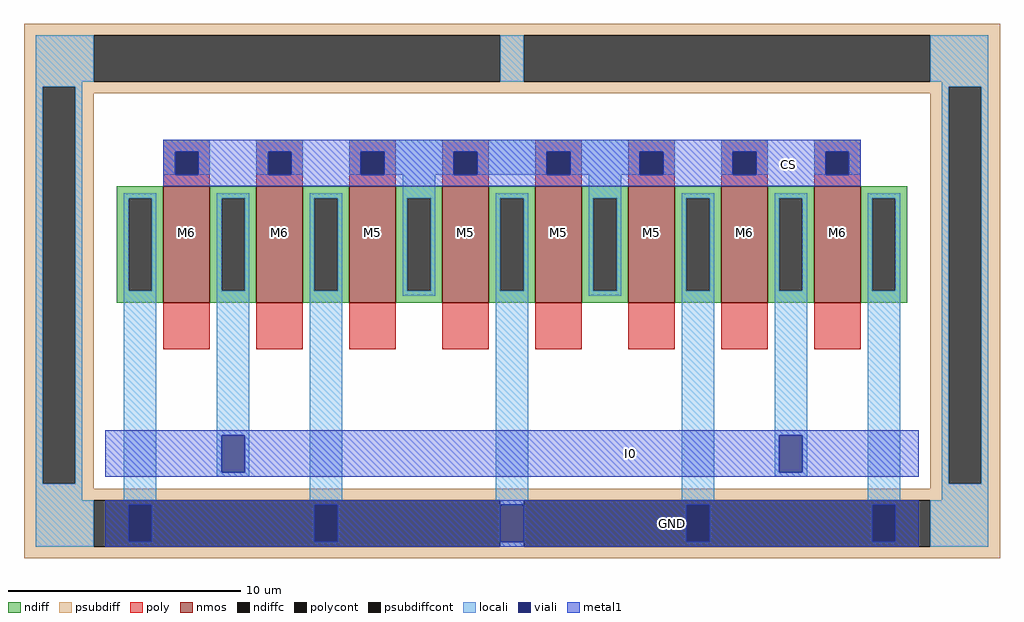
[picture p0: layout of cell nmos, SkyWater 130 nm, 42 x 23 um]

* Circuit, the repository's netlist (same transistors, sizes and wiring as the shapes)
* NGSPICE file created from nmos.ext - technology: sky130A

.subckt nmos
X0 M5 M5 GND GND sky130_fd_pr__nfet_01v8 ad=5 pd=7 as=5 ps=7 w=5 l=2
X1 GND M5 I0 GND sky130_fd_pr__nfet_01v8 ad=10 pd=14 as=5 ps=7 w=5 l=2
X2 M5 M5 GND GND sky130_fd_pr__nfet_01v8 ad=5 pd=7 as=5 ps=7 w=5 l=2
X3 GND M5 M5 GND sky130_fd_pr__nfet_01v8 ad=5 pd=7 as=5 ps=7 w=5 l=2
X4 I0 M5 GND GND sky130_fd_pr__nfet_01v8 ad=5 pd=7 as=10.00515 ps=14.02 w=5 l=2
X5 GND M5 M5 GND sky130_fd_pr__nfet_01v8 ad=5 pd=7 as=5 ps=7 w=5 l=2
X6 I0 M5 GND GND sky130_fd_pr__nfet_01v8 ad=5 pd=7 as=5 ps=7 w=5 l=2
X7 GND M5 I0 GND sky130_fd_pr__nfet_01v8 ad=5 pd=7 as=5 ps=7 w=5 l=2
.ends

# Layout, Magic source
magic
tech sky130A
magscale 1 2
<< nmos >>
rect 1600 0 2000 1000
rect 2400 0 2800 1000
rect 3200 0 3600 1000
rect 4000 0 4400 1000
rect 4800 0 5200 1000
rect 5600 0 6000 1000
rect 6400 0 6800 1000
rect 7200 0 7600 1000
<< ndiff >>
rect 1209 1000 1312 1002
rect 1200 900 1600 1000
rect 1200 100 1300 900
rect 1500 100 1600 900
rect 1200 0 1600 100
rect 2000 900 2400 1000
rect 2000 100 2100 900
rect 2300 100 2400 900
rect 2000 0 2400 100
rect 2800 900 3200 1000
rect 2800 100 2900 900
rect 3100 100 3200 900
rect 2800 0 3200 100
rect 3600 900 4000 1000
rect 3600 100 3700 900
rect 3900 100 4000 900
rect 3600 0 4000 100
rect 4400 900 4800 1000
rect 4400 100 4500 900
rect 4700 100 4800 900
rect 4400 0 4800 100
rect 5200 900 5600 1000
rect 5200 100 5300 900
rect 5500 100 5600 900
rect 5200 0 5600 100
rect 6000 900 6400 1000
rect 6000 100 6100 900
rect 6300 100 6400 900
rect 6000 0 6400 100
rect 6800 900 7200 1000
rect 6800 100 6900 900
rect 7100 100 7200 900
rect 6800 0 7200 100
rect 7600 900 8000 1000
rect 7600 100 7700 900
rect 7900 100 8000 900
rect 7600 0 8000 100
<< ndiffc >>
rect 1300 100 1500 900
rect 2100 100 2300 900
rect 2900 100 3100 900
rect 3700 100 3900 900
rect 4500 100 4700 900
rect 5300 100 5500 900
rect 6100 100 6300 900
rect 6900 100 7100 900
rect 7700 100 7900 900
<< psubdiff >>
rect 400 2300 8800 2400
rect 400 1900 1000 2300
rect 4500 1900 4700 2300
rect 8200 1900 8800 2300
rect 400 1860 8800 1900
rect 400 -1560 560 1860
rect 840 1800 8360 1860
rect 840 -1560 1000 1800
rect 400 -1600 1000 -1560
rect 8200 -1560 8360 1800
rect 8640 -1560 8800 1860
rect 8200 -1600 8800 -1560
rect 400 -1700 8800 -1600
rect 400 -2100 1000 -1700
rect 4500 -2100 4700 -1700
rect 8200 -2100 8800 -1700
rect 400 -2200 8800 -2100
<< psubdiffcont >>
rect 1000 1900 4500 2300
rect 4700 1900 8200 2300
rect 560 -1560 840 1860
rect 8360 -1560 8640 1860
rect 1000 -2100 4500 -1700
rect 4700 -2100 8200 -1700
<< poly >>
rect 1600 1300 2000 1400
rect 1600 1100 1700 1300
rect 1900 1100 2000 1300
rect 1600 1000 2000 1100
rect 2400 1300 2800 1400
rect 2400 1100 2500 1300
rect 2700 1100 2800 1300
rect 2400 1000 2800 1100
rect 3200 1300 3600 1400
rect 3200 1100 3300 1300
rect 3500 1100 3600 1300
rect 3200 1000 3600 1100
rect 4000 1300 4400 1400
rect 4000 1100 4100 1300
rect 4300 1100 4400 1300
rect 4000 1000 4400 1100
rect 4800 1300 5200 1400
rect 4800 1100 4900 1300
rect 5100 1100 5200 1300
rect 4800 1000 5200 1100
rect 5600 1300 6000 1400
rect 5600 1100 5700 1300
rect 5900 1100 6000 1300
rect 5600 1000 6000 1100
rect 6400 1300 6800 1400
rect 6400 1100 6500 1300
rect 6700 1100 6800 1300
rect 6400 1000 6800 1100
rect 7200 1300 7600 1400
rect 7200 1100 7300 1300
rect 7500 1100 7600 1300
rect 7200 1000 7600 1100
rect 1600 -400 2000 0
rect 2400 -400 2800 0
rect 3200 -400 3600 0
rect 4000 -400 4400 0
rect 4800 -400 5200 0
rect 5600 -400 6000 0
rect 6400 -400 6800 0
rect 7200 -400 7600 0
<< polycont >>
rect 1700 1100 1900 1300
rect 2500 1100 2700 1300
rect 3300 1100 3500 1300
rect 4100 1100 4300 1300
rect 4900 1100 5100 1300
rect 5700 1100 5900 1300
rect 6500 1100 6700 1300
rect 7300 1100 7500 1300
<< locali >>
rect 500 1900 1000 2300
rect 4500 1900 4700 2300
rect 8200 1900 8700 2300
rect 500 1860 900 1900
rect 500 -1560 560 1860
rect 840 -1560 900 1860
rect 8300 1860 8700 1900
rect 1600 1300 2000 1400
rect 1600 1100 1700 1300
rect 1900 1100 2000 1300
rect 2400 1300 2800 1400
rect 2400 1100 2500 1300
rect 2700 1100 2800 1300
rect 3200 1300 6000 1400
rect 3200 1100 3300 1300
rect 3500 1100 4100 1300
rect 4300 1100 4900 1300
rect 5100 1100 5700 1300
rect 5900 1100 6000 1300
rect 6400 1300 6800 1400
rect 6400 1100 6500 1300
rect 6700 1100 6800 1300
rect 7200 1300 7600 1400
rect 7200 1100 7300 1300
rect 7500 1100 7600 1300
rect 500 -1700 900 -1560
rect 1260 900 1540 940
rect 1260 100 1300 900
rect 1500 100 1540 900
rect 1260 -1700 1540 100
rect 2060 900 2340 940
rect 2060 100 2100 900
rect 2300 100 2340 900
rect 2060 -1140 2340 100
rect 2060 -1460 2100 -1140
rect 2300 -1460 2340 -1140
rect 2060 -1500 2340 -1460
rect 2860 900 3140 940
rect 2860 100 2900 900
rect 3100 100 3140 900
rect 2860 -1700 3140 100
rect 3660 900 3940 1100
rect 3660 100 3700 900
rect 3900 100 3940 900
rect 3660 60 3940 100
rect 4460 900 4740 940
rect 4460 100 4500 900
rect 4700 100 4740 900
rect 4460 -1700 4740 100
rect 5260 900 5540 1100
rect 5260 100 5300 900
rect 5500 100 5540 900
rect 5260 60 5540 100
rect 6060 900 6340 940
rect 6060 100 6100 900
rect 6300 100 6340 900
rect 6060 -1700 6340 100
rect 6860 900 7140 940
rect 6860 100 6900 900
rect 7100 100 7140 900
rect 6860 -1140 7140 100
rect 6860 -1460 6900 -1140
rect 7100 -1460 7140 -1140
rect 6860 -1500 7140 -1460
rect 7660 900 7940 940
rect 7660 100 7700 900
rect 7900 100 7940 900
rect 7660 -1700 7940 100
rect 8300 -1560 8360 1860
rect 8640 -1560 8700 1860
rect 8300 -1700 8700 -1560
rect 500 -2100 1000 -1700
rect 4500 -1740 4700 -1700
rect 4500 -2100 4700 -2060
rect 8200 -2100 8700 -1700
<< viali >>
rect 1700 1100 1900 1300
rect 2500 1100 2700 1300
rect 3300 1100 3500 1300
rect 4100 1100 4300 1300
rect 4900 1100 5100 1300
rect 5700 1100 5900 1300
rect 6500 1100 6700 1300
rect 7300 1100 7500 1300
rect 2100 -1460 2300 -1140
rect 6900 -1460 7100 -1140
rect 1300 -2060 1500 -1740
rect 2900 -2060 3100 -1740
rect 4500 -2060 4700 -1740
rect 6100 -2060 6300 -1740
rect 7700 -2060 7900 -1740
<< metal1 >>
rect 1600 1300 7600 1400
rect 1600 1100 1700 1300
rect 1900 1100 2500 1300
rect 2700 1100 3300 1300
rect 3500 1100 4100 1300
rect 4300 1100 4900 1300
rect 5100 1100 5700 1300
rect 5900 1100 6500 1300
rect 6700 1100 7300 1300
rect 7500 1100 7600 1300
rect 1600 1000 7600 1100
rect 1100 -1140 8100 -1100
rect 1100 -1460 2100 -1140
rect 2300 -1460 6900 -1140
rect 7100 -1460 8100 -1140
rect 1100 -1500 8100 -1460
rect 1100 -1740 8100 -1700
rect 1100 -2060 1300 -1740
rect 1500 -2060 2900 -1740
rect 3100 -2060 4500 -1740
rect 4700 -2060 6100 -1740
rect 6300 -2060 7700 -1740
rect 7900 -2060 8100 -1740
rect 1100 -2100 8100 -2060
<< labels >>
flabel nmos 3400 600 3400 600 0 FreeSans 1600 0 0 0 M5
flabel nmos 4200 600 4200 600 0 FreeSans 1600 0 0 0 M5
flabel nmos 5000 600 5000 600 0 FreeSans 1600 0 0 0 M5
flabel nmos 5800 600 5800 600 0 FreeSans 1600 0 0 0 M5
flabel nmos 1800 600 1800 600 0 FreeSans 1600 0 0 0 M6
flabel nmos 2600 600 2600 600 0 FreeSans 1600 0 0 0 M6
flabel nmos 6600 600 6600 600 0 FreeSans 1600 0 0 0 M6
flabel nmos 7400 600 7400 600 0 FreeSans 1600 0 0 0 M6
flabel metal1 5240 -2092 6730 -1714 0 FreeSans 1600 0 0 0 GND
flabel metal1 4876 -1484 6366 -1106 0 FreeSans 1600 0 0 0 I0
flabel metal1 6840 1066 7122 1310 0 FreeSans 1600 0 0 0 CS
<< end >>
